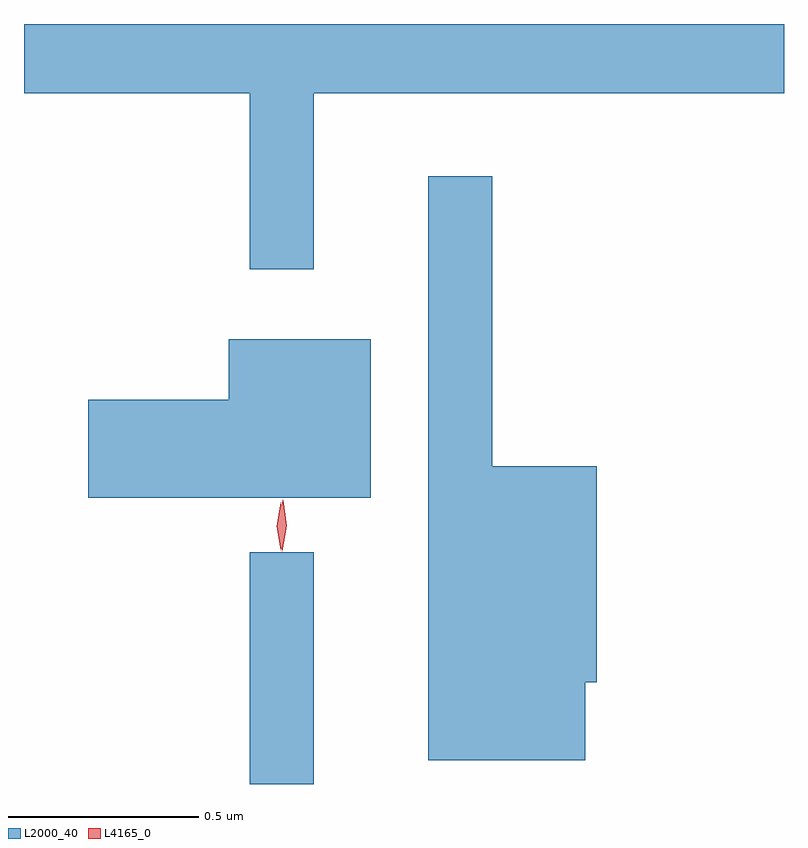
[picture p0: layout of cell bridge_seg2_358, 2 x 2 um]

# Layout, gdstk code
import gdstk
lib = gdstk.Library(unit=1e-6, precision=1e-09)
def R(c, l, rs):  # rectangles x0, y0, x1, y1
    for r in rs: c.add(gdstk.rectangle(r[:2], r[2:], *l))
def P(c, l, *ps):  # polygons
    for p in ps: c.add(gdstk.Polygon(p, *l))
L2000_40 = (2000, 40)
L4165_0 = (4165, 0)

bridge_seg2_358 = lib.new_cell('bridge_seg2_358')
R(bridge_seg2_358, L2000_40, [(297.491,1017.638,297.659,1018.248)])
P(bridge_seg2_358, L2000_40, [(297.659,1019.456),(298.897,1019.456),(298.897,1019.638),(296.897,1019.638),(296.897,1019.456),(297.491,1019.456),(297.491,1018.993),(297.659,1018.993)],
  [(298.374,1017.906),(298.404,1017.906),(298.404,1018.474),(298.129,1018.474),(298.129,1019.238),(297.961,1019.238),(297.961,1017.701),(298.374,1017.701)],
  [(297.809,1018.809),(297.436,1018.809),(297.436,1018.649),(297.066,1018.649),(297.066,1018.391),(297.809,1018.391)])
P(bridge_seg2_358, L4165_0, [(297.576,1018.25),(297.567,1018.318),(297.578,1018.385),(297.578,1018.386),(297.579,1018.385),(297.588,1018.318),(297.577,1018.25),(297.577,1018.25)],
  [(297.572,1018.253),(297.572,1018.253),(297.562,1018.316),(297.572,1018.379),(297.572,1018.38),(297.572,1018.379),(297.582,1018.316),(297.572,1018.253)])

lib.write_gds('bridge_seg2_358.gds')
